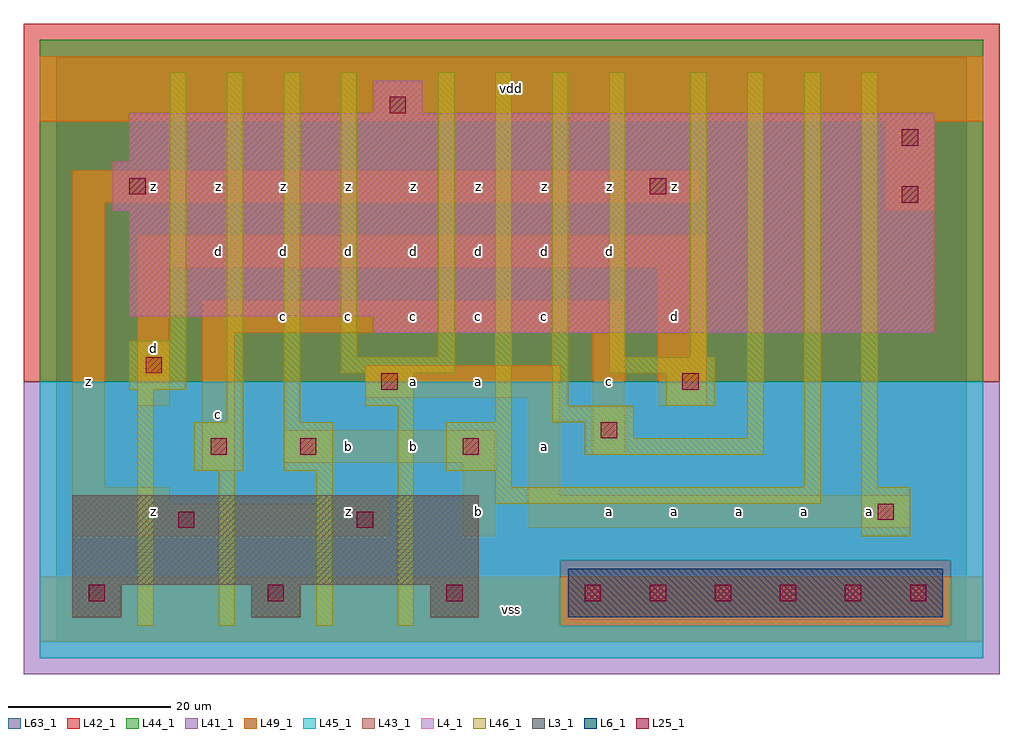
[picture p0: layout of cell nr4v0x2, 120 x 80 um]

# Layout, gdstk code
import gdstk
lib = gdstk.Library(unit=1e-6, precision=1e-09)
def R(c, l, rs):  # rectangles x0, y0, x1, y1
    for r in rs: c.add(gdstk.rectangle(r[:2], r[2:], *l))
def A(c, l, x, y, w, h, nx, ny, dx, dy):  # array of equal rectangles
    R(c, l, [(x+i*dx, y+j*dy, x+i*dx+w, y+j*dy+h) for i in range(nx) for j in range(ny)])
L3_1 = (3, 1)
L4_1 = (4, 1)
L6_1 = (6, 1)
L25_1 = (25, 1)
L41_1 = (41, 1)
L42_1 = (42, 1)
L43_1 = (43, 1)
L44_1 = (44, 1)
L45_1 = (45, 1)
L46_1 = (46, 1)
L49_1 = (49, 1)
L63_1 = (63, 1)

nr4v0x2 = lib.new_cell('nr4v0x2')
A(nr4v0x2, L3_1, 2, 3, 6, 4, 3, 1, 22, 0)
R(nr4v0x2, L3_1, [(2,7,52,18)])
R(nr4v0x2, L4_1, [(39,38,108,40), (9,40,108,53), (7,53,108,59), (9,59,108,65), (39,65,45,69)])
R(nr4v0x2, L6_1, [(63,3,109,9), (63,3,109,9)])
A(nr4v0x2, L25_1, 4, 5, 2, 2, 3, 1, 22, 0)
A(nr4v0x2, L25_1, 65, 5, 2, 2, 6, 1, 8, 0)
R(nr4v0x2, L25_1, [(15,14,17,16), (37,14,39,16), (101,15,103,17), (19,23,21,25), (30,23,32,25), (50,23,52,25), (67,25,69,27), (40,31,42,33), (77,31,79,33), (11,33,13,35), (104,54,106,56), (9,55,11,57), (73,55,75,57), (104,61,106,63), (41,65,43,67)])
R(nr4v0x2, L41_1, [(-4,-4,116,32)])
R(nr4v0x2, L42_1, [(-4,32,116,76)])
A(nr4v0x2, L43_1, 2, 3, 6, 4, 3, 1, 22, 0)
R(nr4v0x2, L43_1, [(63,3,109,9), (2,7,52,18), (39,38,108,40), (9,40,108,53), (7,53,108,59), (9,59,108,65), (39,65,45,69)])
R(nr4v0x2, L44_1, [(62,2,110,10), (-2,32,114,74)])
R(nr4v0x2, L45_1, [(-2,-2,114,2), (-2,2,62,10), (110,2,114,10), (-2,10,114,32)])
R(nr4v0x2, L46_1, [(10,2,12,31), (20,2,22,21), (32,2,34,21), (42,2,44,29), (99,13,105,19), (54,17,94,19), (54,19,56,21), (92,19,94,70), (99,19,101,70), (17,21,23,27), (28,21,34,27), (48,21,56,27), (65,23,87,25), (65,25,71,27), (85,25,87,70), (21,27,23,70), (28,27,30,70), (54,27,56,70), (61,27,71,29), (38,29,44,33), (61,29,63,70), (75,29,81,33), (9,31,16,37), (35,33,49,35), (68,33,81,35), (35,35,37,70), (47,35,49,70), (68,35,70,70), (78,35,80,70), (14,37,16,70)])
R(nr4v0x2, L49_1, [(-2,0,114,8), (2,13,41,17), (50,13,54,22), (58,14,105,18), (2,17,14,19), (33,17,41,18), (58,18,62,30), (2,19,6,54), (18,21,22,38), (28,22,54,26), (66,23,70,38), (10,29,14,46), (74,29,80,46), (38,30,62,34), (18,38,70,42), (10,46,80,50), (102,53,108,64), (2,54,79,58), (-2,64,114,72)])
R(nr4v0x2, L63_1, [(0,0,112,72)])
nr4v0x2.add(gdstk.Label('z', (12,16), layer=49, texttype=1))
nr4v0x2.add(gdstk.Label('z', (4,32), layer=49, texttype=1))
nr4v0x2.add(gdstk.Label('d', (12,36), layer=49, texttype=1))
nr4v0x2.add(gdstk.Label('z', (12,56), layer=49, texttype=1))
nr4v0x2.add(gdstk.Label('z', (36,16), layer=49, texttype=1))
nr4v0x2.add(gdstk.Label('b', (36,24), layer=49, texttype=1))
nr4v0x2.add(gdstk.Label('c', (20,28), layer=49, texttype=1))
nr4v0x2.add(gdstk.Label('c', (28,40), layer=49, texttype=1))
nr4v0x2.add(gdstk.Label('c', (36,40), layer=49, texttype=1))
nr4v0x2.add(gdstk.Label('d', (20,48), layer=49, texttype=1))
nr4v0x2.add(gdstk.Label('d', (28,48), layer=49, texttype=1))
nr4v0x2.add(gdstk.Label('d', (36,48), layer=49, texttype=1))
nr4v0x2.add(gdstk.Label('z', (28,56), layer=49, texttype=1))
nr4v0x2.add(gdstk.Label('z', (36,56), layer=49, texttype=1))
nr4v0x2.add(gdstk.Label('z', (20,56), layer=49, texttype=1))
nr4v0x2.add(gdstk.Label('vss', (56,4), layer=49, texttype=1))
nr4v0x2.add(gdstk.Label('b', (52,16), layer=49, texttype=1))
nr4v0x2.add(gdstk.Label('b', (44,24), layer=49, texttype=1))
nr4v0x2.add(gdstk.Label('a', (60,24), layer=49, texttype=1))
nr4v0x2.add(gdstk.Label('a', (52,32), layer=49, texttype=1))
nr4v0x2.add(gdstk.Label('a', (44,32), layer=49, texttype=1))
nr4v0x2.add(gdstk.Label('c', (44,40), layer=49, texttype=1))
nr4v0x2.add(gdstk.Label('c', (52,40), layer=49, texttype=1))
nr4v0x2.add(gdstk.Label('c', (60,40), layer=49, texttype=1))
nr4v0x2.add(gdstk.Label('d', (44,48), layer=49, texttype=1))
nr4v0x2.add(gdstk.Label('d', (52,48), layer=49, texttype=1))
nr4v0x2.add(gdstk.Label('d', (60,48), layer=49, texttype=1))
nr4v0x2.add(gdstk.Label('z', (52,56), layer=49, texttype=1))
nr4v0x2.add(gdstk.Label('z', (60,56), layer=49, texttype=1))
nr4v0x2.add(gdstk.Label('z', (44,56), layer=49, texttype=1))
nr4v0x2.add(gdstk.Label('vdd', (56,68), layer=49, texttype=1))
nr4v0x2.add(gdstk.Label('a', (76,16), layer=49, texttype=1))
nr4v0x2.add(gdstk.Label('a', (84,16), layer=49, texttype=1))
nr4v0x2.add(gdstk.Label('a', (68,16), layer=49, texttype=1))
nr4v0x2.add(gdstk.Label('c', (68,32), layer=49, texttype=1))
nr4v0x2.add(gdstk.Label('d', (76,40), layer=49, texttype=1))
nr4v0x2.add(gdstk.Label('d', (68,48), layer=49, texttype=1))
nr4v0x2.add(gdstk.Label('z', (76,56), layer=49, texttype=1))
nr4v0x2.add(gdstk.Label('z', (68,56), layer=49, texttype=1))
nr4v0x2.add(gdstk.Label('a', (100,16), layer=49, texttype=1))
nr4v0x2.add(gdstk.Label('a', (92,16), layer=49, texttype=1))

lib.write_gds('nr4v0x2.gds')
